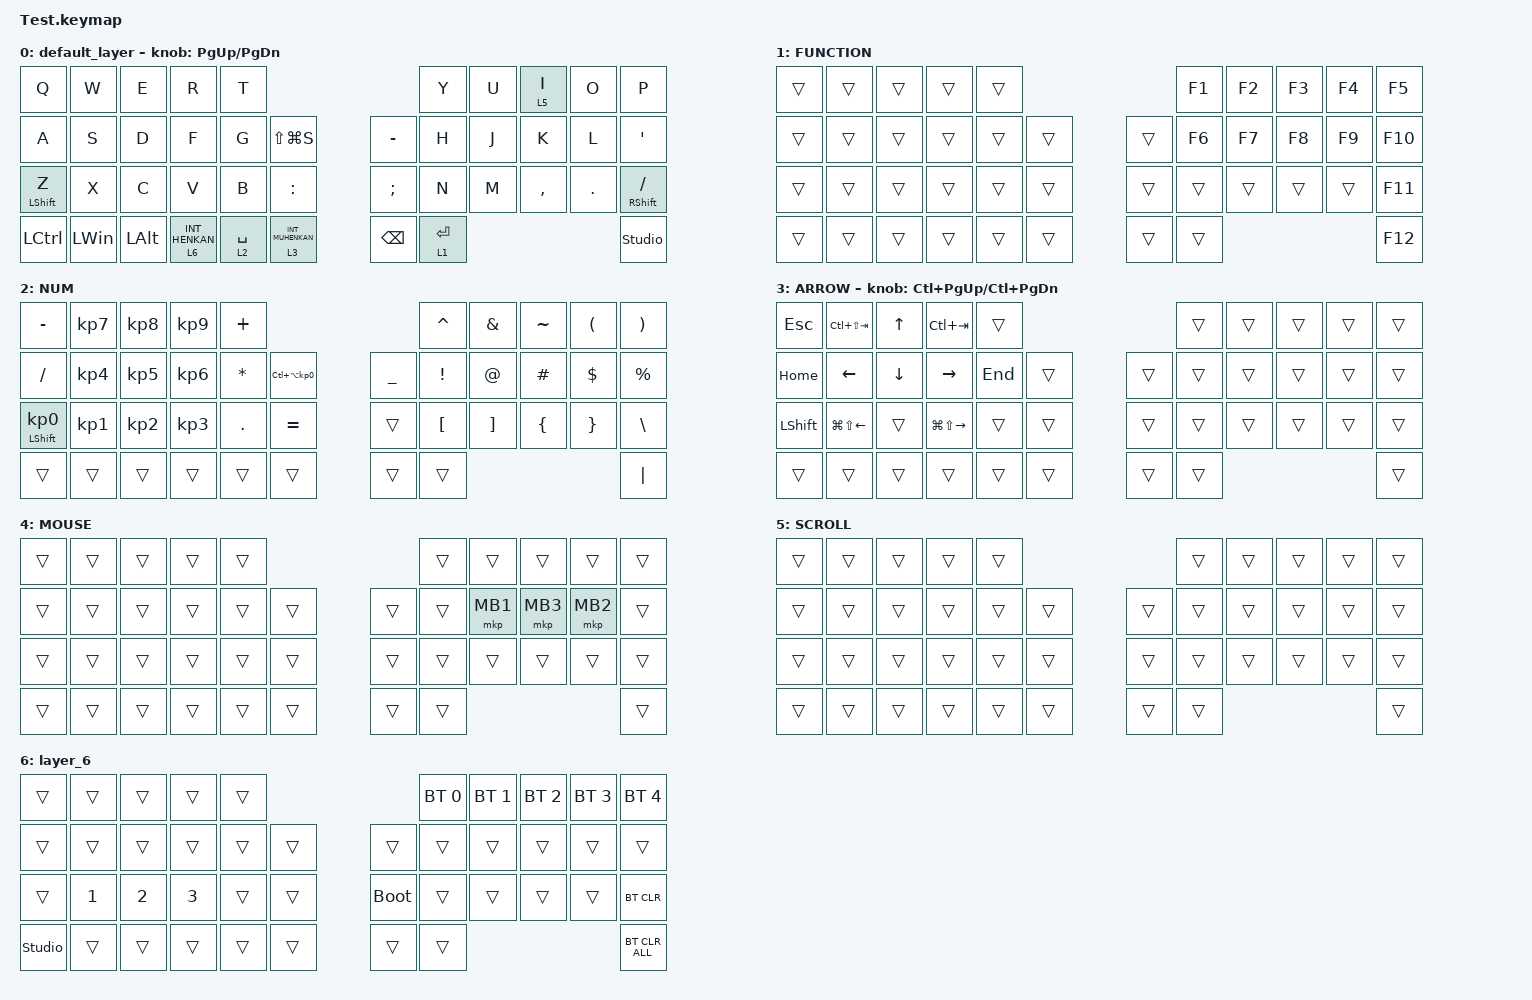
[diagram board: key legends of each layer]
#include <dt-bindings/zmk/mouse.h>
#include <behaviors.dtsi>
#include <dt-bindings/zmk/bt.h>
#include <dt-bindings/zmk/keys.h>
#include <dt-bindings/zmk/pointing.h>

#define MOUSE 4
#define SCROLL 5
#define NUM 6

&mt {
    flavor = "balanced";
    quick-tap-ms = <0>;
};

/ {
    combos {
        compatible = "zmk,combos";

        tab {
            bindings = <&kp TAB>;
            key-positions = <11 12>;
        };

        shift_tab {
            bindings = <&kp LS(TAB)>;
            key-positions = <12 13>;
        };

        muhennkann {
            bindings = <&to_layer_0 INT_MUHENKAN>;
            key-positions = <11 10>;
        };

        double_quotation {
            bindings = <&kp DOUBLE_QUOTES>;
            key-positions = <20 21>;
        };

        eq {
            bindings = <&kp EQUAL>;
            key-positions = <24 25>;
        };

        large_Z {
            bindings = <&kp LS(Z)>;
            key-positions = <23 22>;
        };

        shiftMB3 {
            bindings = <&shiftMB3>;
            key-positions = <18 19>;
        };
    };

    macros {
        to_layer_0: to_layer_0 {
            compatible = "zmk,behavior-macro-one-param";
            #binding-cells = <1>;
            bindings = <&to 0 &macro_param_1to1 &kp MACRO_PLACEHOLDER>;
            label = "TO_LAYER_0";
        };

        shiftMB3: shiftMB3 {
            compatible = "zmk,behavior-macro";
            #binding-cells = <0>;
            bindings =
                <&macro_press>,
                <&kp LEFT_SHIFT &mkp MB3>,
                <&macro_pause_for_release>,
                <&macro_release>,
                <&kp LEFT_SHIFT &mkp MB3>;

            label = "SHIFTMB3";
        };
    };

    behaviors {
        lt_to_layer_0: lt_to_layer_0 {
            compatible = "zmk,behavior-hold-tap";
            label = "LAYER_TAP_TO_0";
            bindings = <&mo>, <&to_layer_0>;

            #binding-cells = <2>;
            tapping-term-ms = <200>;
        };
    };

    keymap {
        compatible = "zmk,keymap";

        default_layer {
            bindings = <
&kp Q             &kp W         &kp E         &kp R                        &kp T                                                        &kp Y        &kp U  &lt 5 I    &kp O    &kp P
&kp A             &kp S         &kp D         &kp F                        &kp G        &kp LS(LG(S))                    &kp MINUS      &kp H        &kp J  &kp K      &kp L    &kp SQT
&mt LEFT_SHIFT Z  &kp X         &kp C         &kp V                        &kp B        &kp COLON                        &kp SEMICOLON  &kp N        &kp M  &kp COMMA  &kp DOT  &mt RIGHT_SHIFT SLASH
&kp LCTRL         &kp LEFT_WIN  &kp LEFT_ALT  &lt_to_layer_0 6 INT_HENKAN  &lt 2 SPACE  &lt_to_layer_0 3 INT_MUHENKAN    &kp BACKSPACE  &lt 1 ENTER                             &studio_unlock
            >;

            sensor-bindings = <&inc_dec_kp PG_UP PAGE_DOWN>;
        };

        FUNCTION {
            bindings = <
&trans  &trans  &trans  &trans  &trans                    &kp F1  &kp F2  &kp F3  &kp F4  &kp F5
&trans  &trans  &trans  &trans  &trans  &trans    &trans  &kp F6  &kp F7  &kp F8  &kp F9  &kp F10
&trans  &trans  &trans  &trans  &trans  &trans    &trans  &trans  &trans  &trans  &trans  &kp F11
&trans  &trans  &trans  &trans  &trans  &trans    &trans  &trans                          &kp F12
            >;
        };

        NUM {
            bindings = <
&kp MINUS                   &kp KP_NUMBER_7  &kp KP_NUMBER_8  &kp KP_NUMBER_9  &kp PLUS                                                 &kp CARET         &kp AMPERSAND      &kp TILDE       &kp LEFT_PARENTHESIS  &kp RIGHT_PARENTHESIS
&kp SLASH                   &kp KP_NUMBER_4  &kp KP_NUMBER_5  &kp KP_NUMBER_6  &kp ASTERISK  &kp LC(LA(KP_NUMBER_0))    &kp UNDERSCORE  &kp EXCLAMATION   &kp AT_SIGN        &kp HASH        &kp DOLLAR            &kp PERCENT
&mt LEFT_SHIFT KP_NUMBER_0  &kp KP_NUMBER_1  &kp KP_NUMBER_2  &kp KP_NUMBER_3  &kp PERIOD    &kp EQUAL                  &trans          &kp LEFT_BRACKET  &kp RIGHT_BRACKET  &kp LEFT_BRACE  &kp RIGHT_BRACE       &kp BACKSLASH
&trans                      &trans           &trans           &trans           &trans        &trans                     &trans          &trans                                                                     &kp PIPE
            >;
        };

        ARROW {
            bindings = <
&kp ESCAPE      &kp LC(LS(TAB))         &kp UP_ARROW    &kp LC(TAB)              &trans                     &trans  &trans  &trans  &trans  &trans
&kp HOME        &kp LEFT_ARROW          &kp DOWN_ARROW  &kp RIGHT_ARROW          &kp END  &trans    &trans  &trans  &trans  &trans  &trans  &trans
&kp LEFT_SHIFT  &kp LG(LS(LEFT_ARROW))  &trans          &kp LG(LS(RIGHT_ARROW))  &trans   &trans    &trans  &trans  &trans  &trans  &trans  &trans
&trans          &trans                  &trans          &trans                   &trans   &trans    &trans  &trans                          &trans
            >;

            sensor-bindings = <&inc_dec_kp LC(PAGE_UP) LC(PAGE_DOWN)>;
        };

        MOUSE {
            bindings = <
&trans  &trans  &trans  &trans  &trans                    &trans  &trans    &trans    &trans    &trans
&trans  &trans  &trans  &trans  &trans  &trans    &trans  &trans  &mkp MB1  &mkp MB3  &mkp MB2  &trans
&trans  &trans  &trans  &trans  &trans  &trans    &trans  &trans  &trans    &trans    &trans    &trans
&trans  &trans  &trans  &trans  &trans  &trans    &trans  &trans                                &trans
            >;
        };

        SCROLL {
            bindings = <
&trans  &trans  &trans  &trans  &trans                    &trans  &trans  &trans  &trans  &trans
&trans  &trans  &trans  &trans  &trans  &trans    &trans  &trans  &trans  &trans  &trans  &trans
&trans  &trans  &trans  &trans  &trans  &trans    &trans  &trans  &trans  &trans  &trans  &trans
&trans  &trans  &trans  &trans  &trans  &trans    &trans  &trans                          &trans
            >;
        };

        layer_6 {
            bindings = <
&trans          &trans        &trans        &trans        &trans                         &bt BT_SEL 0  &bt BT_SEL 1  &bt BT_SEL 2  &bt BT_SEL 3  &bt BT_SEL 4
&trans          &trans        &trans        &trans        &trans  &trans    &trans       &trans        &trans        &trans        &trans        &trans
&trans          &kp NUMBER_1  &kp NUMBER_2  &kp NUMBER_3  &trans  &trans    &bootloader  &trans        &trans        &trans        &trans        &bt BT_CLR
&studio_unlock  &trans        &trans        &trans        &trans  &trans    &trans       &trans                                                  &bt BT_CLR_ALL
            >;
        };
    };
};
